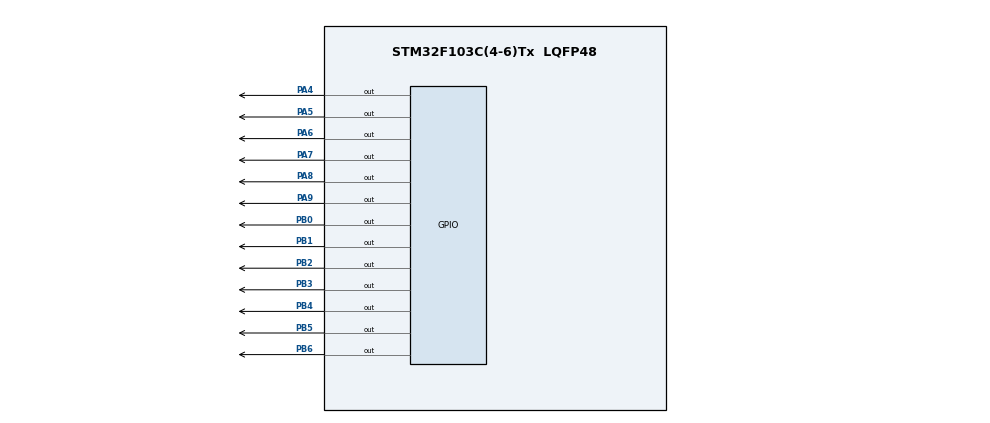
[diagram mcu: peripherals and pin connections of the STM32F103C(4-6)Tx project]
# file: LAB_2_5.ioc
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Mcu.Family=STM32F1
Mcu.Name=STM32F103C(4-6)Tx
Mcu.Package=LQFP48
NVIC.PriorityGroup=NVIC_PRIORITYGROUP_4
NVIC.TIM2_IRQn=true\:0\:0\:false\:false\:true\:true\:true
PA4.Signal=GPIO_Output
PA5.Signal=GPIO_Output
PA6.PinState=GPIO_PIN_SET
PA6.Signal=GPIO_Output
PA7.PinState=GPIO_PIN_SET
PA7.Signal=GPIO_Output
PA8.PinState=GPIO_PIN_SET
PA8.Signal=GPIO_Output
PA9.PinState=GPIO_PIN_SET
PA9.Signal=GPIO_Output
PB0.Signal=GPIO_Output
PB1.Signal=GPIO_Output
PB2.Signal=GPIO_Output
PB3.Signal=GPIO_Output
PB4.Signal=GPIO_Output
PB5.Signal=GPIO_Output
PB6.Signal=GPIO_Output
ProjectManager.HeapSize=0x200
ProjectManager.StackSize=0x400
ProjectManager.TargetToolchain=STM32CubeIDE
RCC.APB1Freq_Value=8000000
RCC.APB2Freq_Value=8000000
TIM2.Period=1
TIM2.Prescaler=7999
VP_SYS_VS_ND.Mode=No_Debug
VP_TIM2_VS_ClockSourceINT.Mode=Internal
board=custom

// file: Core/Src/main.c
/* USER CODE BEGIN Header */
/**
  ******************************************************************************
  * @file           : main.c
  * @brief          : Main program body
  ******************************************************************************
  */
/* USER CODE END Header */
#include "main.h"

TIM_HandleTypeDef htim2;

/* USER CODE BEGIN PV */
// Declare variables globally so updateClockBuffer can access them
int hour = 15;
int minute = 8;
int second = 50;

const int MAX_LED = 4;
int index_led = 0;
int led_buffer[4] = {1, 5, 0, 8};
/* USER CODE END PV */

void SystemClock_Config(void);
static void MX_GPIO_Init(void);
static void MX_TIM2_Init(void);

/* USER CODE BEGIN 0 */
void display7SEG(int num) {
    // Common Anode Hex Values for 0-9
    uint8_t segmentMap[10] = {0x40, 0x79, 0x24, 0x30, 0x19, 0x12, 0x02, 0x78, 0x00, 0x10};
    if (num < 0 || num > 9) return;
    uint8_t val = segmentMap[num];

    HAL_GPIO_WritePin(GPIOB, GPIO_PIN_0, (val >> 0) & 0x01);
    HAL_GPIO_WritePin(GPIOB, GPIO_PIN_1, (val >> 1) & 0x01);
    HAL_GPIO_WritePin(GPIOB, GPIO_PIN_2, (val >> 2) & 0x01);
    HAL_GPIO_WritePin(GPIOB, GPIO_PIN_3, (val >> 3) & 0x01);
    HAL_GPIO_WritePin(GPIOB, GPIO_PIN_4, (val >> 4) & 0x01);
    HAL_GPIO_WritePin(GPIOB, GPIO_PIN_5, (val >> 5) & 0x01);
    HAL_GPIO_WritePin(GPIOB, GPIO_PIN_6, (val >> 6) & 0x01);
}

void update7SEG(int index) {
    // 1. Turn OFF all Enable pins first to prevent ghosting (PA6 to PA9 High)
    HAL_GPIO_WritePin(GPIOA, GPIO_PIN_6 | GPIO_PIN_7 | GPIO_PIN_8 | GPIO_PIN_9, GPIO_PIN_SET);

    // 2. Output the data and turn ON the specific transistor (Low)
    switch (index) {
        case 0:
            display7SEG(led_buffer[0]);
            HAL_GPIO_WritePin(GPIOA, GPIO_PIN_6, GPIO_PIN_RESET);
            break;
        case 1:
            display7SEG(led_buffer[1]);
            HAL_GPIO_WritePin(GPIOA, GPIO_PIN_7, GPIO_PIN_RESET);
            break;
        case 2:
            display7SEG(led_buffer[2]);
            HAL_GPIO_WritePin(GPIOA, GPIO_PIN_8, GPIO_PIN_RESET);
            break;
        case 3:
            display7SEG(led_buffer[3]);
            HAL_GPIO_WritePin(GPIOA, GPIO_PIN_9, GPIO_PIN_RESET);
            break;
    }
}

// Function exactly as requested in Exercise 5 to update the buffer
void updateClockBuffer() {
    led_buffer[0] = hour / 10;
    led_buffer[1] = hour % 10;
    led_buffer[2] = minute / 10;
    led_buffer[3] = minute % 10;
}
/* USER CODE END 0 */

int main(void)
{
  HAL_Init();
  SystemClock_Config();
  MX_GPIO_Init();
  MX_TIM2_Init();

  /* USER CODE BEGIN 2 */
  HAL_TIM_Base_Start_IT(&htim2); // Start Timer Interrupt
  /* USER CODE END 2 */

  /* Infinite loop */
  /* USER CODE BEGIN WHILE */
  while (1)
  {
      second++;
      if (second >= 60){
          second = 0;
          minute++;
      }
      if(minute >= 60){
          minute = 0;
          hour++;
      }
      if(hour >= 24){
          hour = 0;
      }

      // Update the values in the array
      updateClockBuffer();

      // FIXED: Toggle BOTH the DOT LEDs (PA4) and D1 (PA5) every second
      HAL_GPIO_TogglePin(GPIOA, GPIO_PIN_4 | GPIO_PIN_5);

      // Blocking delay for 1 second as required in Exercise 5
      HAL_Delay(1000);

    /* USER CODE END WHILE */
  }
}

void SystemClock_Config(void)
{
  RCC_OscInitTypeDef RCC_OscInitStruct = {0};
  RCC_ClkInitTypeDef RCC_ClkInitStruct = {0};

  RCC_OscInitStruct.OscillatorType = RCC_OSCILLATORTYPE_HSI;
  RCC_OscInitStruct.HSIState = RCC_HSI_ON;
  RCC_OscInitStruct.HSICalibrationValue = RCC_HSICALIBRATION_DEFAULT;
  RCC_OscInitStruct.PLL.PLLState = RCC_PLL_NONE;
  if (HAL_RCC_OscConfig(&RCC_OscInitStruct) != HAL_OK)
  {
    Error_Handler();
  }
  RCC_ClkInitStruct.ClockType = RCC_CLOCKTYPE_HCLK|RCC_CLOCKTYPE_SYSCLK
                              |RCC_CLOCKTYPE_PCLK1|RCC_CLOCKTYPE_PCLK2;
  RCC_ClkInitStruct.SYSCLKSource = RCC_SYSCLKSOURCE_HSI;
  RCC_ClkInitStruct.AHBCLKDivider = RCC_SYSCLK_DIV1;
  RCC_ClkInitStruct.APB1CLKDivider = RCC_HCLK_DIV1;
  RCC_ClkInitStruct.APB2CLKDivider = RCC_HCLK_DIV1;

  if (HAL_RCC_ClockConfig(&RCC_ClkInitStruct, FLASH_LATENCY_0) != HAL_OK)
  {
    Error_Handler();
  }
}

static void MX_TIM2_Init(void)
{
  TIM_ClockConfigTypeDef sClockSourceConfig = {0};
  TIM_MasterConfigTypeDef sMasterConfig = {0};

  htim2.Instance = TIM2;
  // Set to 10ms interrupt period (Assuming 8MHz clock)
  htim2.Init.Prescaler = 7999;
  htim2.Init.CounterMode = TIM_COUNTERMODE_UP;
  htim2.Init.Period = 9;     // 10ms interrupt matches the manual's intent
  htim2.Init.ClockDivision = TIM_CLOCKDIVISION_DIV1;
  htim2.Init.AutoReloadPreload = TIM_AUTORELOAD_PRELOAD_ENABLE;
  if (HAL_TIM_Base_Init(&htim2) != HAL_OK)
  {
    Error_Handler();
  }
  sClockSourceConfig.ClockSource = TIM_CLOCKSOURCE_INTERNAL;
  if (HAL_TIM_ConfigClockSource(&htim2, &sClockSourceConfig) != HAL_OK)
  {
    Error_Handler();
  }
  sMasterConfig.MasterOutputTrigger = TIM_TRGO_RESET;
  sMasterConfig.MasterSlaveMode = TIM_MASTERSLAVEMODE_DISABLE;
  if (HAL_TIMEx_MasterConfigSynchronization(&htim2, &sMasterConfig) != HAL_OK)
  {
    Error_Handler();
  }
}

static void MX_GPIO_Init(void)
{
  GPIO_InitTypeDef GPIO_InitStruct = {0};

  __HAL_RCC_GPIOA_CLK_ENABLE();
  __HAL_RCC_GPIOB_CLK_ENABLE();

  // FIXED: Add GPIO_PIN_5 here to set its initial state
  HAL_GPIO_WritePin(GPIOA, GPIO_PIN_4 | GPIO_PIN_5, GPIO_PIN_RESET);
  HAL_GPIO_WritePin(GPIOA, GPIO_PIN_6|GPIO_PIN_7|GPIO_PIN_8|GPIO_PIN_9, GPIO_PIN_SET);
  HAL_GPIO_WritePin(GPIOB, GPIO_PIN_0|GPIO_PIN_1|GPIO_PIN_2|GPIO_PIN_3
                          |GPIO_PIN_4|GPIO_PIN_5|GPIO_PIN_6, GPIO_PIN_RESET);

  // FIXED: Add GPIO_PIN_5 here to configure it as an Output
  GPIO_InitStruct.Pin = GPIO_PIN_4 | GPIO_PIN_5 | GPIO_PIN_6 | GPIO_PIN_7 | GPIO_PIN_8 | GPIO_PIN_9;
  GPIO_InitStruct.Mode = GPIO_MODE_OUTPUT_PP;
  GPIO_InitStruct.Pull = GPIO_NOPULL;
  GPIO_InitStruct.Speed = GPIO_SPEED_FREQ_LOW;
  HAL_GPIO_Init(GPIOA, &GPIO_InitStruct);

  GPIO_InitStruct.Pin = GPIO_PIN_0|GPIO_PIN_1|GPIO_PIN_2|GPIO_PIN_3
                          |GPIO_PIN_4|GPIO_PIN_5|GPIO_PIN_6;
  GPIO_InitStruct.Mode = GPIO_MODE_OUTPUT_PP;
  GPIO_InitStruct.Pull = GPIO_NOPULL;
  GPIO_InitStruct.Speed = GPIO_SPEED_FREQ_LOW;
  HAL_GPIO_Init(GPIOB, &GPIO_InitStruct);
}

/* USER CODE BEGIN 4 */
// This interrupt fires every 10ms, scanning the LEDs fast enough to stop blinking
void HAL_TIM_PeriodElapsedCallback(TIM_HandleTypeDef *htim)
{
    if(htim->Instance == TIM2)
    {
        update7SEG(index_led++);
        if (index_led >= MAX_LED) {
            index_led = 0;
        }
    }
}
/* USER CODE END 4 */

void Error_Handler(void)
{
  __disable_irq();
  while (1)
  {
  }
}
